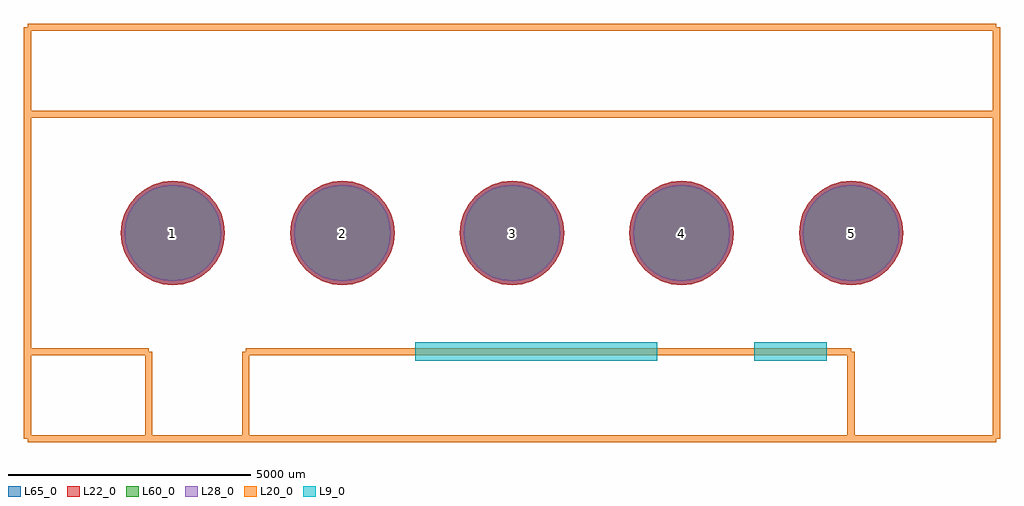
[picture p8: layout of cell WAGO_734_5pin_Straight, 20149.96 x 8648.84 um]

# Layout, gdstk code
import gdstk
lib = gdstk.Library(unit=1e-6, precision=1e-09)
def P(c, l, *ps):  # polygons
    for p in ps: c.add(gdstk.Polygon(p, *l))
L9_0 = (9, 0)
L20_0 = (20, 0)
L22_0 = (22, 0)
L28_0 = (28, 0)
L60_0 = (60, 0)
L65_0 = (65, 0)

wago_734_5pin_straight = lib.new_cell('WAGO_734_5pin_Straight')
P(wago_734_5pin_straight, L22_0, [(8074.73,0),(8054.084,209.623),(7992.939,411.19),(7893.646,596.955),(7760.019,759.779),(7597.195,893.406),(7411.43,992.699),(7209.863,1053.844),(7000.24,1074.49),(6790.617,1053.844),(6589.05,992.699),(6403.285,893.406),(6240.461,759.779),(6106.834,596.955),(6007.541,411.19),(5946.396,209.623),(5925.75,0),(5946.396,-209.623),(6007.541,-411.19),(6106.834,-596.955),(6240.461,-759.779),(6403.285,-893.406),(6589.05,-992.699),(6790.617,-1053.844),(7000.24,-1074.49),(7209.863,-1053.844),(7411.43,-992.699),(7597.195,-893.406),(7760.019,-759.779),(7893.646,-596.955),(7992.939,-411.19),(8054.084,-209.623)],
  [(-5925.75,0),(-5946.396,209.623),(-6007.541,411.19),(-6106.834,596.955),(-6240.461,759.779),(-6403.285,893.406),(-6589.05,992.699),(-6790.617,1053.844),(-7000.24,1074.49),(-7209.863,1053.844),(-7411.43,992.699),(-7597.195,893.406),(-7760.019,759.779),(-7893.646,596.955),(-7992.939,411.19),(-8054.084,209.623),(-8074.73,0),(-8054.084,-209.623),(-7992.939,-411.19),(-7893.646,-596.955),(-7760.019,-759.779),(-7597.195,-893.406),(-7411.43,-992.699),(-7209.863,-1053.844),(-7000.24,-1074.49),(-6790.617,-1053.844),(-6589.05,-992.699),(-6403.285,-893.406),(-6240.461,-759.779),(-6106.834,-596.955),(-6007.541,-411.19),(-5946.396,-209.623)],
  [(4574.61,0),(4553.964,209.623),(4492.819,411.19),(4393.526,596.955),(4259.899,759.779),(4097.075,893.406),(3911.31,992.699),(3709.743,1053.844),(3500.12,1074.49),(3290.497,1053.844),(3088.93,992.699),(2903.165,893.406),(2740.341,759.779),(2606.714,596.955),(2507.421,411.19),(2446.276,209.623),(2425.63,0),(2446.276,-209.623),(2507.421,-411.19),(2606.714,-596.955),(2740.341,-759.779),(2903.165,-893.406),(3088.93,-992.699),(3290.497,-1053.844),(3500.12,-1074.49),(3709.743,-1053.844),(3911.31,-992.699),(4097.075,-893.406),(4259.899,-759.779),(4393.526,-596.955),(4492.819,-411.19),(4553.964,-209.623)],
  [(-2425.63,0),(-2446.276,209.623),(-2507.421,411.19),(-2606.714,596.955),(-2740.341,759.779),(-2903.165,893.406),(-3088.93,992.699),(-3290.497,1053.844),(-3500.12,1074.49),(-3709.743,1053.844),(-3911.31,992.699),(-4097.075,893.406),(-4259.899,759.779),(-4393.526,596.955),(-4492.819,411.19),(-4553.964,209.623),(-4574.61,0),(-4553.964,-209.623),(-4492.819,-411.19),(-4393.526,-596.955),(-4259.899,-759.779),(-4097.075,-893.406),(-3911.31,-992.699),(-3709.743,-1053.844),(-3500.12,-1074.49),(-3290.497,-1053.844),(-3088.93,-992.699),(-2903.165,-893.406),(-2740.341,-759.779),(-2606.714,-596.955),(-2507.421,-411.19),(-2446.276,-209.623)],
  [(1074.49,0),(1053.844,209.623),(992.699,411.19),(893.406,596.955),(759.779,759.779),(596.955,893.406),(411.19,992.699),(209.623,1053.844),(0,1074.49),(-209.623,1053.844),(-411.19,992.699),(-596.955,893.406),(-759.779,759.779),(-893.406,596.955),(-992.699,411.19),(-1053.844,209.623),(-1074.49,0),(-1053.844,-209.623),(-992.699,-411.19),(-893.406,-596.955),(-759.779,-759.779),(-596.955,-893.406),(-411.19,-992.699),(-209.623,-1053.844),(0,-1074.49),(209.623,-1053.844),(411.19,-992.699),(596.955,-893.406),(759.779,-759.779),(893.406,-596.955),(992.699,-411.19),(1053.844,-209.623)])
P(wago_734_5pin_straight, L28_0, [(7999.73,0),(7980.525,194.991),(7923.648,382.488),(7831.286,555.287),(7706.986,706.746),(7555.527,831.046),(7382.728,923.408),(7195.231,980.285),(7000.24,999.49),(6805.249,980.285),(6617.752,923.408),(6444.953,831.046),(6293.494,706.746),(6169.194,555.287),(6076.832,382.488),(6019.955,194.991),(6000.75,0),(6019.955,-194.991),(6076.832,-382.488),(6169.194,-555.287),(6293.494,-706.746),(6444.953,-831.046),(6617.752,-923.408),(6805.249,-980.285),(7000.24,-999.49),(7195.231,-980.285),(7382.728,-923.408),(7555.527,-831.046),(7706.986,-706.746),(7831.286,-555.287),(7923.648,-382.488),(7980.525,-194.991)],
  [(-6000.75,0),(-6019.955,194.991),(-6076.832,382.488),(-6169.194,555.287),(-6293.494,706.746),(-6444.953,831.046),(-6617.752,923.408),(-6805.249,980.285),(-7000.24,999.49),(-7195.231,980.285),(-7382.728,923.408),(-7555.527,831.046),(-7706.986,706.746),(-7831.286,555.287),(-7923.648,382.488),(-7980.525,194.991),(-7999.73,0),(-7980.525,-194.991),(-7923.648,-382.488),(-7831.286,-555.287),(-7706.986,-706.746),(-7555.527,-831.046),(-7382.728,-923.408),(-7195.231,-980.285),(-7000.24,-999.49),(-6805.249,-980.285),(-6617.752,-923.408),(-6444.953,-831.046),(-6293.494,-706.746),(-6169.194,-555.287),(-6076.832,-382.488),(-6019.955,-194.991)],
  [(4499.61,0),(4480.405,194.991),(4423.528,382.488),(4331.166,555.287),(4206.866,706.746),(4055.407,831.046),(3882.608,923.408),(3695.111,980.285),(3500.12,999.49),(3305.129,980.285),(3117.632,923.408),(2944.833,831.046),(2793.374,706.746),(2669.074,555.287),(2576.712,382.488),(2519.835,194.991),(2500.63,0),(2519.835,-194.991),(2576.712,-382.488),(2669.074,-555.287),(2793.374,-706.746),(2944.833,-831.046),(3117.632,-923.408),(3305.129,-980.285),(3500.12,-999.49),(3695.111,-980.285),(3882.608,-923.408),(4055.407,-831.046),(4206.866,-706.746),(4331.166,-555.287),(4423.528,-382.488),(4480.405,-194.991)],
  [(-2500.63,0),(-2519.835,194.991),(-2576.712,382.488),(-2669.074,555.287),(-2793.374,706.746),(-2944.833,831.046),(-3117.632,923.408),(-3305.129,980.285),(-3500.12,999.49),(-3695.111,980.285),(-3882.608,923.408),(-4055.407,831.046),(-4206.866,706.746),(-4331.166,555.287),(-4423.528,382.488),(-4480.405,194.991),(-4499.61,0),(-4480.405,-194.991),(-4423.528,-382.488),(-4331.166,-555.287),(-4206.866,-706.746),(-4055.407,-831.046),(-3882.608,-923.408),(-3695.111,-980.285),(-3500.12,-999.49),(-3305.129,-980.285),(-3117.632,-923.408),(-2944.833,-831.046),(-2793.374,-706.746),(-2669.074,-555.287),(-2576.712,-382.488),(-2519.835,-194.991)],
  [(999.49,0),(980.285,194.991),(923.408,382.488),(831.046,555.287),(706.746,706.746),(555.287,831.046),(382.488,923.408),(194.991,980.285),(0,999.49),(-194.991,980.285),(-382.488,923.408),(-555.287,831.046),(-706.746,706.746),(-831.046,555.287),(-923.408,382.488),(-980.285,194.991),(-999.49,0),(-980.285,-194.991),(-923.408,-382.488),(-831.046,-555.287),(-706.746,-706.746),(-555.287,-831.046),(-382.488,-923.408),(-194.991,-980.285),(0,-999.49),(194.991,-980.285),(382.488,-923.408),(555.287,-831.046),(706.746,-706.746),(831.046,-555.287),(923.408,-382.488),(980.285,-194.991)])
P(wago_734_5pin_straight, L60_0, [(7999.73,0),(7980.525,194.991),(7923.648,382.488),(7831.286,555.287),(7706.986,706.746),(7555.527,831.046),(7382.728,923.408),(7195.231,980.285),(7000.24,999.49),(6805.249,980.285),(6617.752,923.408),(6444.953,831.046),(6293.494,706.746),(6169.194,555.287),(6076.832,382.488),(6019.955,194.991),(6000.75,0),(6019.955,-194.991),(6076.832,-382.488),(6169.194,-555.287),(6293.494,-706.746),(6444.953,-831.046),(6617.752,-923.408),(6805.249,-980.285),(7000.24,-999.49),(7195.231,-980.285),(7382.728,-923.408),(7555.527,-831.046),(7706.986,-706.746),(7831.286,-555.287),(7923.648,-382.488),(7980.525,-194.991)],
  [(-6000.75,0),(-6019.955,194.991),(-6076.832,382.488),(-6169.194,555.287),(-6293.494,706.746),(-6444.953,831.046),(-6617.752,923.408),(-6805.249,980.285),(-7000.24,999.49),(-7195.231,980.285),(-7382.728,923.408),(-7555.527,831.046),(-7706.986,706.746),(-7831.286,555.287),(-7923.648,382.488),(-7980.525,194.991),(-7999.73,0),(-7980.525,-194.991),(-7923.648,-382.488),(-7831.286,-555.287),(-7706.986,-706.746),(-7555.527,-831.046),(-7382.728,-923.408),(-7195.231,-980.285),(-7000.24,-999.49),(-6805.249,-980.285),(-6617.752,-923.408),(-6444.953,-831.046),(-6293.494,-706.746),(-6169.194,-555.287),(-6076.832,-382.488),(-6019.955,-194.991)],
  [(4499.61,0),(4480.405,194.991),(4423.528,382.488),(4331.166,555.287),(4206.866,706.746),(4055.407,831.046),(3882.608,923.408),(3695.111,980.285),(3500.12,999.49),(3305.129,980.285),(3117.632,923.408),(2944.833,831.046),(2793.374,706.746),(2669.074,555.287),(2576.712,382.488),(2519.835,194.991),(2500.63,0),(2519.835,-194.991),(2576.712,-382.488),(2669.074,-555.287),(2793.374,-706.746),(2944.833,-831.046),(3117.632,-923.408),(3305.129,-980.285),(3500.12,-999.49),(3695.111,-980.285),(3882.608,-923.408),(4055.407,-831.046),(4206.866,-706.746),(4331.166,-555.287),(4423.528,-382.488),(4480.405,-194.991)],
  [(-2500.63,0),(-2519.835,194.991),(-2576.712,382.488),(-2669.074,555.287),(-2793.374,706.746),(-2944.833,831.046),(-3117.632,923.408),(-3305.129,980.285),(-3500.12,999.49),(-3695.111,980.285),(-3882.608,923.408),(-4055.407,831.046),(-4206.866,706.746),(-4331.166,555.287),(-4423.528,382.488),(-4480.405,194.991),(-4499.61,0),(-4480.405,-194.991),(-4423.528,-382.488),(-4331.166,-555.287),(-4206.866,-706.746),(-4055.407,-831.046),(-3882.608,-923.408),(-3695.111,-980.285),(-3500.12,-999.49),(-3305.129,-980.285),(-3117.632,-923.408),(-2944.833,-831.046),(-2793.374,-706.746),(-2669.074,-555.287),(-2576.712,-382.488),(-2519.835,-194.991)],
  [(999.49,0),(980.285,194.991),(923.408,382.488),(831.046,555.287),(706.746,706.746),(555.287,831.046),(382.488,923.408),(194.991,980.285),(0,999.49),(-194.991,980.285),(-382.488,923.408),(-555.287,831.046),(-706.746,706.746),(-831.046,555.287),(-923.408,382.488),(-980.285,194.991),(-999.49,0),(-980.285,-194.991),(-923.408,-382.488),(-831.046,-555.287),(-706.746,-706.746),(-555.287,-831.046),(-382.488,-923.408),(-194.991,-980.285),(0,-999.49),(194.991,-980.285),(382.488,-923.408),(555.287,-831.046),(706.746,-706.746),(831.046,-555.287),(923.408,-382.488),(980.285,-194.991)])
P(wago_734_5pin_straight, L65_0, [(8074.73,0),(8054.084,209.623),(7992.939,411.19),(7893.646,596.955),(7760.019,759.779),(7597.195,893.406),(7411.43,992.699),(7209.863,1053.844),(7000.24,1074.49),(6790.617,1053.844),(6589.05,992.699),(6403.285,893.406),(6240.461,759.779),(6106.834,596.955),(6007.541,411.19),(5946.396,209.623),(5925.75,0),(5946.396,-209.623),(6007.541,-411.19),(6106.834,-596.955),(6240.461,-759.779),(6403.285,-893.406),(6589.05,-992.699),(6790.617,-1053.844),(7000.24,-1074.49),(7209.863,-1053.844),(7411.43,-992.699),(7597.195,-893.406),(7760.019,-759.779),(7893.646,-596.955),(7992.939,-411.19),(8054.084,-209.623)],
  [(-5925.75,0),(-5946.396,209.623),(-6007.541,411.19),(-6106.834,596.955),(-6240.461,759.779),(-6403.285,893.406),(-6589.05,992.699),(-6790.617,1053.844),(-7000.24,1074.49),(-7209.863,1053.844),(-7411.43,992.699),(-7597.195,893.406),(-7760.019,759.779),(-7893.646,596.955),(-7992.939,411.19),(-8054.084,209.623),(-8074.73,0),(-8054.084,-209.623),(-7992.939,-411.19),(-7893.646,-596.955),(-7760.019,-759.779),(-7597.195,-893.406),(-7411.43,-992.699),(-7209.863,-1053.844),(-7000.24,-1074.49),(-6790.617,-1053.844),(-6589.05,-992.699),(-6403.285,-893.406),(-6240.461,-759.779),(-6106.834,-596.955),(-6007.541,-411.19),(-5946.396,-209.623)],
  [(4574.61,0),(4553.964,209.623),(4492.819,411.19),(4393.526,596.955),(4259.899,759.779),(4097.075,893.406),(3911.31,992.699),(3709.743,1053.844),(3500.12,1074.49),(3290.497,1053.844),(3088.93,992.699),(2903.165,893.406),(2740.341,759.779),(2606.714,596.955),(2507.421,411.19),(2446.276,209.623),(2425.63,0),(2446.276,-209.623),(2507.421,-411.19),(2606.714,-596.955),(2740.341,-759.779),(2903.165,-893.406),(3088.93,-992.699),(3290.497,-1053.844),(3500.12,-1074.49),(3709.743,-1053.844),(3911.31,-992.699),(4097.075,-893.406),(4259.899,-759.779),(4393.526,-596.955),(4492.819,-411.19),(4553.964,-209.623)],
  [(-2425.63,0),(-2446.276,209.623),(-2507.421,411.19),(-2606.714,596.955),(-2740.341,759.779),(-2903.165,893.406),(-3088.93,992.699),(-3290.497,1053.844),(-3500.12,1074.49),(-3709.743,1053.844),(-3911.31,992.699),(-4097.075,893.406),(-4259.899,759.779),(-4393.526,596.955),(-4492.819,411.19),(-4553.964,209.623),(-4574.61,0),(-4553.964,-209.623),(-4492.819,-411.19),(-4393.526,-596.955),(-4259.899,-759.779),(-4097.075,-893.406),(-3911.31,-992.699),(-3709.743,-1053.844),(-3500.12,-1074.49),(-3290.497,-1053.844),(-3088.93,-992.699),(-2903.165,-893.406),(-2740.341,-759.779),(-2606.714,-596.955),(-2507.421,-411.19),(-2446.276,-209.623)],
  [(1074.49,0),(1053.844,209.623),(992.699,411.19),(893.406,596.955),(759.779,759.779),(596.955,893.406),(411.19,992.699),(209.623,1053.844),(0,1074.49),(-209.623,1053.844),(-411.19,992.699),(-596.955,893.406),(-759.779,759.779),(-893.406,596.955),(-992.699,411.19),(-1053.844,209.623),(-1074.49,0),(-1053.844,-209.623),(-992.699,-411.19),(-893.406,-596.955),(-759.779,-759.779),(-596.955,-893.406),(-411.19,-992.699),(-209.623,-1053.844),(0,-1074.49),(209.623,-1053.844),(411.19,-992.699),(596.955,-893.406),(759.779,-759.779),(893.406,-596.955),(992.699,-411.19),(1053.844,-209.623)])
wago_734_5pin_straight.add(gdstk.FlexPath([(-1998.98,-2451.1),(2999.74,-2451.1)], 380.998, ends="flush", simple_path=True, layer=9, datatype=0))  # L9_0
wago_734_5pin_straight.add(gdstk.FlexPath([(5001.26,-2451.1),(6499.86,-2451.1)], 380.998, ends="flush", simple_path=True, layer=9, datatype=0))  # L9_0
wago_734_5pin_straight.add(gdstk.FlexPath([(-9999.98,-4249.42),(0,-4249.42)], 149.998, ends="flush", simple_path=True, layer=20, datatype=0))  # L20_0
wago_734_5pin_straight.add(gdstk.FlexPath([(-9999.98,4249.42),(-9999.98,-4249.42)], 149.998, ends="flush", simple_path=True, layer=20, datatype=0))  # L20_0
wago_734_5pin_straight.add(gdstk.FlexPath([(9999.98,4249.42),(-9999.98,4249.42)], 149.998, ends="flush", simple_path=True, layer=20, datatype=0))  # L20_0
wago_734_5pin_straight.add(gdstk.FlexPath([(9999.98,-4249.42),(9999.98,4249.42)], 149.998, ends="flush", simple_path=True, layer=20, datatype=0))  # L20_0
wago_734_5pin_straight.add(gdstk.FlexPath([(0,-4249.42),(9999.98,-4249.42)], 149.998, ends="flush", simple_path=True, layer=20, datatype=0))  # L20_0
wago_734_5pin_straight.add(gdstk.FlexPath([(-7500.62,-2451.1),(-7500.62,-4249.42)], 149.998, ends="flush", simple_path=True, layer=20, datatype=0))  # L20_0
wago_734_5pin_straight.add(gdstk.FlexPath([(-9999.98,-2451.1),(-7500.62,-2451.1)], 149.998, ends="flush", simple_path=True, layer=20, datatype=0))  # L20_0
wago_734_5pin_straight.add(gdstk.FlexPath([(-5499.1,-4249.42),(-5499.1,-2451.1)], 149.998, ends="flush", simple_path=True, layer=20, datatype=0))  # L20_0
wago_734_5pin_straight.add(gdstk.FlexPath([(7000.24,-2451.1),(-5499.1,-2451.1)], 149.998, ends="flush", simple_path=True, layer=20, datatype=0))  # L20_0
wago_734_5pin_straight.add(gdstk.FlexPath([(7000.24,-4249.42),(7000.24,-2451.1)], 149.998, ends="flush", simple_path=True, layer=20, datatype=0))  # L20_0
wago_734_5pin_straight.add(gdstk.FlexPath([(-9999.98,2451.1),(9999.98,2451.1)], 149.998, ends="flush", simple_path=True, layer=20, datatype=0))  # L20_0
wago_734_5pin_straight.add(gdstk.Label('5', (7000.24,0), layer=28, texttype=0))
wago_734_5pin_straight.add(gdstk.Label('1', (-7000.24,0), layer=28, texttype=0))
wago_734_5pin_straight.add(gdstk.Label('4', (3500.12,0), layer=28, texttype=0))
wago_734_5pin_straight.add(gdstk.Label('2', (-3500.12,0), layer=28, texttype=0))
wago_734_5pin_straight.add(gdstk.Label('3', (0,0), layer=28, texttype=0))
wago_734_5pin_straight.add(gdstk.Label('type', (0,-6350), layer=9, texttype=0))
wago_734_5pin_straight.add(gdstk.Label('devicename', (0,6350), layer=9, texttype=0))

lib.write_gds('WAGO_734_5pin_Straight.gds')
